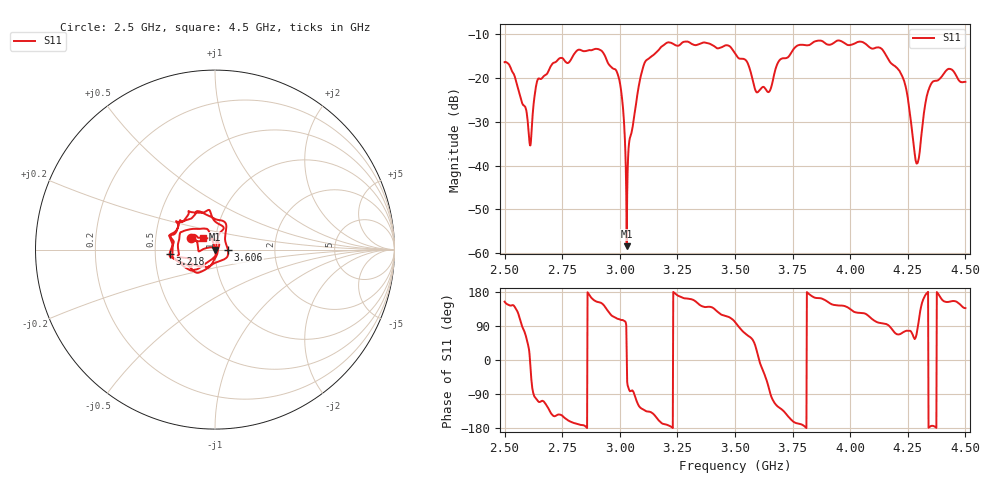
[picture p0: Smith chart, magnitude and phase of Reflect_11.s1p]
! Created with skrf (http://scikit-rf.org).
# Hz S RI R 50.0
!freq ReS11 ImS11
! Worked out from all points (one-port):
!   1001 points, 2.5 GHz to 4.5 GHz, reference 50 ohm
!   lowest |S11| = -58.4 dB at 3.03 GHz (marker M1), VSWR 1.00, Z = 50.1 + j0.0454 ohm
!   |S11| at or under -10 dB: start of sweep to end of sweep
!   S11 on the Smith chart (normalised r, x): 2.5 GHz: 0.75, +0.10; 3.218 GHz: 0.60, -0.03; 3.606 GHz: 1.16, -0.01; 4.5 GHz: 0.87, +0.11
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2.5e9  -0.1362 0.067
2.544e9  -0.0801 0.0667
2.61e9  0.0171 0.000361
2.644e9  -0.0295 -0.0917
2.75e9  -0.1417 -0.0925
2.912e9  -0.1866 0.0986
3e9  -0.0262 0.0858
3.012e9  -0.0138 0.0493
3.022e9  -0.00432 0.0197
3.03e9  0.00111 0.000453
3.102e9  -0.0876 -0.1031
3.218e9  -0.2529 -0.0243
3.25e9  -0.2303 0.0379
3.5e9  -0.0345 0.1885
3.55e9  0.0607 0.1441
3.606e9  0.0721 -0.00403
3.648e9  0.0161 -0.0678
3.688e9  -0.085 -0.1263
3.75e9  -0.1953 -0.0668
4e9  -0.1664 0.1704
4.136e9  -0.0275 0.214
4.22e9  0.0399 0.1057
4.25e9  0.0131 0.058
4.29e9  0.0028 0.0102
4.328e9  -0.054 0.00662
4.352e9  -0.086 -0.00924
4.43e9  -0.114 0.0565
4.5e9  -0.066 0.0619
